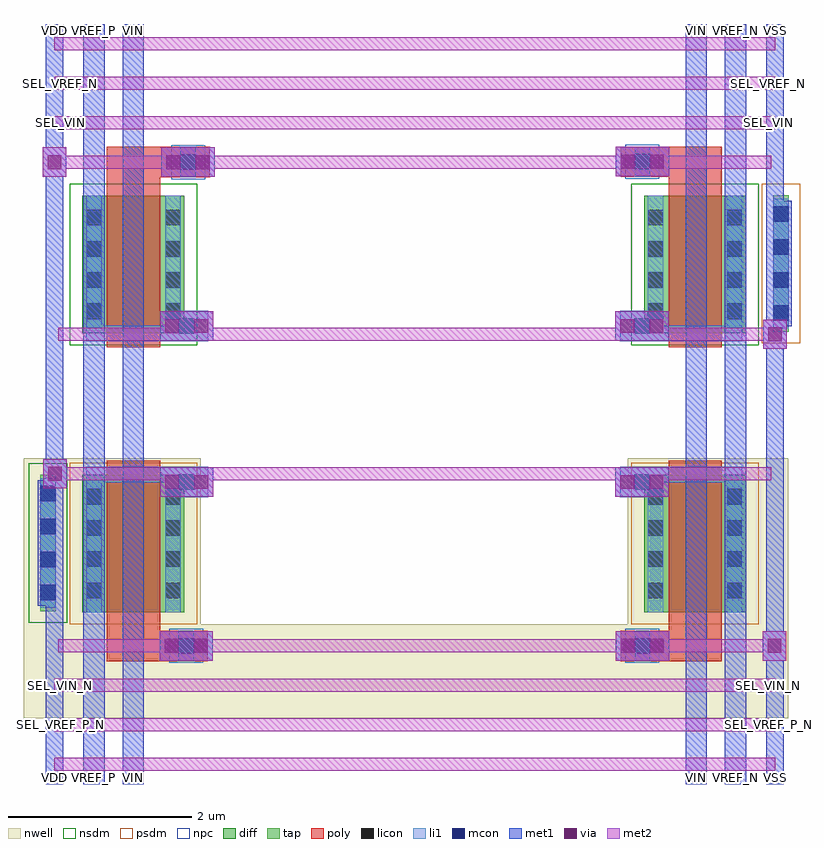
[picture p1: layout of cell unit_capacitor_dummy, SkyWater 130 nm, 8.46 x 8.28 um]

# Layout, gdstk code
import gdstk
lib = gdstk.Library(unit=1e-6, precision=1e-09)
def R(c, l, rs):  # rectangles x0, y0, x1, y1
    for r in rs: c.add(gdstk.rectangle(r[:2], r[2:], *l))
def A(c, l, x, y, w, h, nx, ny, dx, dy):  # array of equal rectangles
    R(c, l, [(x+i*dx, y+j*dy, x+i*dx+w, y+j*dy+h) for i in range(nx) for j in range(ny)])
nwell = (64, 20)
diff = (65, 20)
tap = (65, 44)
poly = (66, 20)
licon = (66, 44)
li1 = (67, 20)
mcon = (67, 44)
met1 = (68, 20)
via = (68, 44)
met2 = (69, 20)
nsdm = (93, 44)
psdm = (94, 20)
npc = (95, 20)

pfet_01v8__34 = lib.new_cell('pfet_01v8$$34')
R(pfet_01v8__34, nwell, [(-0.445,-0.18,1.025,1.68)])
R(pfet_01v8__34, diff, [(-0.265,0,0,1.5), (0,0,0.58,1.5), (0.58,0,0.845,1.5)])
R(pfet_01v8__34, poly, [(0,-0.15,0.58,-0.095), (0,-0.095,0.58,0), (0,0,0.58,1.5), (0,1.5,0.58,1.595), (0,1.595,0.58,1.65)])
A(pfet_01v8__34, licon, -0.225, 0.155, 0.17, 0.17, 1, 4, 0, 0.34)
A(pfet_01v8__34, licon, 0.635, 0.155, 0.17, 0.17, 1, 4, 0, 0.34)
R(pfet_01v8__34, li1, [(-0.225,0,-0.055,1.5), (0.635,0,0.805,1.5)])
R(pfet_01v8__34, psdm, [(-0.405,-0.13,0.985,1.63)])
pfet_01v8__34.add(gdstk.Label('D_drain_1', (0.712,0.75), layer=65, texttype=20))
pfet_01v8__34.add(gdstk.Label('S_source_0', (-0.132,0.75), layer=65, texttype=20))
pfet_01v8__34.add(gdstk.Label('G_gate_1', (0.29,-0.122), layer=66, texttype=20))
pfet_01v8__34.add(gdstk.Label('G_gate_1', (0.29,1.622), layer=66, texttype=20))
pfet_01v8__34.add(gdstk.Label('D_drain_1', (0.72,0.75), layer=67, texttype=20))
pfet_01v8__34.add(gdstk.Label('S_source_0', (-0.14,0.75), layer=67, texttype=20))
pfet_01v8__34.add(gdstk.Label('B', (0.29,0.75), layer=64, texttype=20))

nfet_01v8__35 = lib.new_cell('nfet_01v8$$35')
R(nfet_01v8__35, diff, [(-0.265,0,0,1.5), (0,0,0.58,1.5), (0.58,0,0.845,1.5)])
R(nfet_01v8__35, poly, [(0,-0.15,0.58,-0.095), (0,-0.095,0.58,0), (0,0,0.58,1.5), (0,1.5,0.58,1.595), (0,1.595,0.58,1.65)])
A(nfet_01v8__35, licon, -0.225, 0.155, 0.17, 0.17, 1, 4, 0, 0.34)
A(nfet_01v8__35, licon, 0.635, 0.155, 0.17, 0.17, 1, 4, 0, 0.34)
R(nfet_01v8__35, li1, [(-0.225,0,-0.055,1.5), (0.635,0,0.805,1.5)])
R(nfet_01v8__35, nsdm, [(-0.405,-0.13,0.985,1.63)])
nfet_01v8__35.add(gdstk.Label('D_drain_1', (0.712,0.75), layer=65, texttype=20))
nfet_01v8__35.add(gdstk.Label('S_source_0', (-0.132,0.75), layer=65, texttype=20))
nfet_01v8__35.add(gdstk.Label('G_gate_1', (0.29,-0.122), layer=66, texttype=20))
nfet_01v8__35.add(gdstk.Label('G_gate_1', (0.29,1.622), layer=66, texttype=20))
nfet_01v8__35.add(gdstk.Label('D_drain_1', (0.72,0.75), layer=67, texttype=20))
nfet_01v8__35.add(gdstk.Label('S_source_0', (-0.14,0.75), layer=67, texttype=20))

m1m2_c__31 = lib.new_cell('M1M2_C$$31')
R(m1m2_c__31, met1, [(-0.29,-0.16,0.29,0.16)])
R(m1m2_c__31, via, [(-0.235,-0.075,-0.085,0.075), (0.085,-0.075,0.235,0.075)])
R(m1m2_c__31, met2, [(-0.29,-0.16,0.29,0.16)])

polyconn__32 = lib.new_cell('polyConn$$32')
R(polyconn__32, poly, [(-0.235,-0.165,0.235,0.165)])
R(polyconn__32, licon, [(-0.085,-0.085,0.085,0.085)])
R(polyconn__32, li1, [(-0.085,-0.165,0.085,0.165)])
R(polyconn__32, mcon, [(-0.085,-0.085,0.085,0.085)])
R(polyconn__32, met1, [(-0.29,-0.16,0.29,0.16)])
R(polyconn__32, npc, [(-0.185,-0.185,0.185,0.185)])

l1m1_c__33 = lib.new_cell('L1M1_C$$33')
R(l1m1_c__33, li1, [(-0.235,-0.165,0.235,0.165)])
R(l1m1_c__33, mcon, [(-0.085,-0.085,0.085,0.085)])
R(l1m1_c__33, met1, [(-0.29,-0.16,0.29,0.16)])

nwelltap__22 = lib.new_cell('nwellTap$$22')
R(nwelltap__22, nwell, [(-0.265,-0.925,0.265,0.925)])
R(nwelltap__22, tap, [(-0.085,-0.745,0.085,0.745)])
A(nwelltap__22, licon, -0.085, -0.625, 0.17, 0.17, 1, 4, 0, 0.36)
R(nwelltap__22, li1, [(-0.085,-0.705,0.085,0.705)])
A(nwelltap__22, mcon, -0.085, -0.625, 0.17, 0.17, 1, 4, 0, 0.36)
R(nwelltap__22, met1, [(-0.115,-0.685,0.115,0.685)])
R(nwelltap__22, nsdm, [(-0.21,-0.87,0.21,0.87)])

subtap__23 = lib.new_cell('subTap$$23')
R(subtap__23, tap, [(-0.085,-0.745,0.085,0.745)])
A(subtap__23, licon, -0.085, -0.625, 0.17, 0.17, 1, 4, 0, 0.36)
R(subtap__23, li1, [(-0.085,-0.705,0.085,0.705)])
A(subtap__23, mcon, -0.085, -0.625, 0.17, 0.17, 1, 4, 0, 0.36)
R(subtap__23, met1, [(-0.115,-0.685,0.115,0.685)])
R(subtap__23, psdm, [(-0.21,-0.87,0.21,0.87)])

m1m2_c__11 = lib.new_cell('M1M2_C$$11')
R(m1m2_c__11, met1, [(-0.13,-0.16,0.13,0.16)])
R(m1m2_c__11, via, [(-0.075,-0.075,0.075,0.075)])
R(m1m2_c__11, met2, [(-0.13,-0.16,0.13,0.16)])

unit_capacitor_dummy = lib.new_cell('unit_capacitor_dummy')
R(unit_capacitor_dummy, nwell, [(-0.12,0.715,8.21,1.74), (7.93,1.74,8.21,3.55)])
R(unit_capacitor_dummy, met1, [(0.12,0,0.31,0.14), (0.53,0,0.76,0.14), (0.96,0,1.19,0.14), (7.09,0,7.32,0.14), (7.52,0,7.75,0.14), (7.97,0,8.16,0.14), (0.12,8.14,0.31,8.28), (0.53,8.14,0.76,8.28), (0.96,8.14,1.19,8.28), (7.09,8.14,7.32,8.28), (7.52,8.14,7.75,8.28), (7.97,8.14,8.16,8.28)])
A(unit_capacitor_dummy, met2, 0.215, 0.145, 0.14, 0.14, 1, 3, 0, 0.43)
A(unit_capacitor_dummy, met2, 7.925, 0.145, 0.14, 0.14, 1, 3, 0, 0.43)
A(unit_capacitor_dummy, met2, 0.215, 7.135, 0.14, 0.14, 1, 3, 0, 0.43)
A(unit_capacitor_dummy, met2, 7.925, 7.135, 0.14, 0.14, 1, 3, 0, 0.43)
unit_capacitor_dummy.add(gdstk.FlexPath([(1.65,1.505),(1.415,1.505)], 0.33, ends=(0, 0.075), simple_path=True, layer=66, datatype=20))  # poly
unit_capacitor_dummy.add(gdstk.FlexPath([(1.075,1.72),(1.075,1.34)], 0.58, ends="flush", simple_path=True, layer=66, datatype=20))  # poly
unit_capacitor_dummy.add(gdstk.FlexPath([(7.195,6.56),(7.195,6.945)], 0.58, ends="flush", simple_path=True, layer=66, datatype=20))  # poly
unit_capacitor_dummy.add(gdstk.FlexPath([(6.855,6.78),(6.855,6.705)], 0.15, ends=(0.165, 0), simple_path=True, layer=66, datatype=20))  # poly
unit_capacitor_dummy.add(gdstk.FlexPath([(1.67,6.775),(1.435,6.775)], 0.33, ends=(0, 0.075), simple_path=True, layer=66, datatype=20))  # poly
unit_capacitor_dummy.add(gdstk.FlexPath([(6.62,6.78),(6.855,6.78)], 0.33, ends=(0, 0.075), simple_path=True, layer=66, datatype=20))  # poly
unit_capacitor_dummy.add(gdstk.FlexPath([(1.435,6.775),(1.435,6.845)], 0.15, ends=(0.165, 0), simple_path=True, layer=66, datatype=20))  # poly
unit_capacitor_dummy.add(gdstk.FlexPath([(7.195,1.72),(7.195,1.34)], 0.58, ends="flush", simple_path=True, layer=66, datatype=20))  # poly
unit_capacitor_dummy.add(gdstk.FlexPath([(6.855,1.505),(6.855,1.435)], 0.15, ends=(0.165, 0), simple_path=True, layer=66, datatype=20))  # poly
unit_capacitor_dummy.add(gdstk.FlexPath([(6.62,1.505),(6.855,1.505)], 0.33, ends=(0, 0.075), simple_path=True, layer=66, datatype=20))  # poly
unit_capacitor_dummy.add(gdstk.FlexPath([(1.415,1.505),(1.415,1.435)], 0.15, ends=(0.165, 0), simple_path=True, layer=66, datatype=20))  # poly
unit_capacitor_dummy.add(gdstk.FlexPath([(1.075,6.56),(1.075,6.94)], 0.58, ends="flush", simple_path=True, layer=66, datatype=20))  # poly
unit_capacitor_dummy.add(gdstk.FlexPath([(0.645,3.37),(1.59,3.37)], 0.17, ends=(0.085, 0), simple_path=True, layer=67, datatype=20))  # li1
unit_capacitor_dummy.add(gdstk.FlexPath([(0.645,4.91),(1.59,4.91)], 0.17, ends=(0.085, 0), simple_path=True, layer=67, datatype=20))  # li1
unit_capacitor_dummy.add(gdstk.FlexPath([(6.765,4.91),(7.71,4.91)], 0.17, ends=(0.085, 0), simple_path=True, layer=67, datatype=20))  # li1
unit_capacitor_dummy.add(gdstk.FlexPath([(6.765,3.37),(7.71,3.37)], 0.17, ends=(0.085, 0), simple_path=True, layer=67, datatype=20))  # li1
unit_capacitor_dummy.add(gdstk.FlexPath([(0.645,8.14),(0.645,0)], 0.23, ends="flush", simple_path=True, layer=68, datatype=20))  # met1
unit_capacitor_dummy.add(gdstk.FlexPath([(7.635,8.28),(7.635,0.07)], 0.23, ends="flush", simple_path=True, layer=68, datatype=20))  # met1
unit_capacitor_dummy.add(gdstk.FlexPath([(0.215,8.21),(0.215,0.07)], 0.19, ends="flush", simple_path=True, layer=68, datatype=20))  # met1
unit_capacitor_dummy.add(gdstk.FlexPath([(1.075,8.21),(1.075,0.07)], 0.23, ends="flush", simple_path=True, layer=68, datatype=20))  # met1
unit_capacitor_dummy.add(gdstk.FlexPath([(8.065,8.21),(8.065,0.07)], 0.19, ends="flush", simple_path=True, layer=68, datatype=20))  # met1
unit_capacitor_dummy.add(gdstk.FlexPath([(7.205,8.21),(7.205,0.07)], 0.23, ends="flush", simple_path=True, layer=68, datatype=20))  # met1
unit_capacitor_dummy.add(gdstk.FlexPath([(0.255,1.505),(8.025,1.505)], 0.14, ends="flush", simple_path=True, layer=69, datatype=20))  # met2
unit_capacitor_dummy.add(gdstk.FlexPath([(0.255,4.9),(8.025,4.9)], 0.14, ends="flush", simple_path=True, layer=69, datatype=20))  # met2
unit_capacitor_dummy.add(gdstk.FlexPath([(0.255,7.635),(8.025,7.635)], 0.14, ends="flush", simple_path=True, layer=69, datatype=20))  # met2
unit_capacitor_dummy.add(gdstk.FlexPath([(0.255,3.38),(8.025,3.38)], 0.14, ends="flush", simple_path=True, layer=69, datatype=20))  # met2
unit_capacitor_dummy.add(gdstk.FlexPath([(0.255,6.775),(8.025,6.775)], 0.14, ends="flush", simple_path=True, layer=69, datatype=20))  # met2
unit_capacitor_dummy.add(gdstk.FlexPath([(0.255,8.065),(8.025,8.065)], 0.14, ends="flush", simple_path=True, layer=69, datatype=20))  # met2
unit_capacitor_dummy.add(gdstk.FlexPath([(0.255,7.205),(8.025,7.205)], 0.14, ends="flush", simple_path=True, layer=69, datatype=20))  # met2
unit_capacitor_dummy.add(gdstk.FlexPath([(0.255,0.215),(8.025,0.215)], 0.14, ends="flush", simple_path=True, layer=69, datatype=20))  # met2
unit_capacitor_dummy.add(gdstk.FlexPath([(0.255,0.645),(8.025,0.645)], 0.14, ends="flush", simple_path=True, layer=69, datatype=20))  # met2
unit_capacitor_dummy.add(gdstk.FlexPath([(0.255,1.075),(8.025,1.075)], 0.14, ends="flush", simple_path=True, layer=69, datatype=20))  # met2
unit_capacitor_dummy.add(gdstk.Reference(pfet_01v8__34, (6.905,1.87)))
unit_capacitor_dummy.add(gdstk.Reference(pfet_01v8__34, (0.785,1.87)))
unit_capacitor_dummy.add(gdstk.Reference(nfet_01v8__35, (6.905,4.91)))
unit_capacitor_dummy.add(gdstk.Reference(nfet_01v8__35, (0.785,4.91)))
unit_capacitor_dummy.add(gdstk.Reference(m1m2_c__31, (6.615,3.29)))
unit_capacitor_dummy.add(gdstk.Reference(m1m2_c__31, (1.655,4.99)))
unit_capacitor_dummy.add(gdstk.Reference(m1m2_c__31, (6.615,4.99)))
unit_capacitor_dummy.add(gdstk.Reference(m1m2_c__31, (6.62,6.78)))
unit_capacitor_dummy.add(gdstk.Reference(m1m2_c__31, (6.62,1.505)))
unit_capacitor_dummy.add(gdstk.Reference(m1m2_c__31, (1.65,1.505)))
unit_capacitor_dummy.add(gdstk.Reference(m1m2_c__31, (1.655,3.29)))
unit_capacitor_dummy.add(gdstk.Reference(m1m2_c__31, (1.67,6.775)))
unit_capacitor_dummy.add(gdstk.Reference(polyconn__32, (6.62,6.78)))
unit_capacitor_dummy.add(gdstk.Reference(polyconn__32, (6.62,1.505)))
unit_capacitor_dummy.add(gdstk.Reference(polyconn__32, (1.65,1.505)))
unit_capacitor_dummy.add(gdstk.Reference(polyconn__32, (1.67,6.775)))
unit_capacitor_dummy.add(gdstk.Reference(l1m1_c__33, (6.615,3.29)))
unit_capacitor_dummy.add(gdstk.Reference(l1m1_c__33, (1.655,4.99)))
unit_capacitor_dummy.add(gdstk.Reference(l1m1_c__33, (6.615,4.99)))
unit_capacitor_dummy.add(gdstk.Reference(l1m1_c__33, (1.655,3.29)))
unit_capacitor_dummy.add(gdstk.Reference(nwelltap__22, (0.145,2.625)))
unit_capacitor_dummy.add(gdstk.Reference(subtap__23, (8.13,5.67)))
unit_capacitor_dummy.add(gdstk.Reference(m1m2_c__11, (0.22,3.38)))
unit_capacitor_dummy.add(gdstk.Reference(m1m2_c__11, (8.065,4.9)))
unit_capacitor_dummy.add(gdstk.Reference(m1m2_c__11, (8.06,1.505)))
unit_capacitor_dummy.add(gdstk.Reference(m1m2_c__11, (0.215,6.775)))
unit_capacitor_dummy.add(gdstk.Label('VREF_P', (0.645,0.07), layer=68, texttype=20))
unit_capacitor_dummy.add(gdstk.Label('VIN', (1.075,0.07), layer=68, texttype=20))
unit_capacitor_dummy.add(gdstk.Label('VDD', (0.215,0.07), layer=68, texttype=20))
unit_capacitor_dummy.add(gdstk.Label('VSS', (8.065,0.07), layer=68, texttype=20))
unit_capacitor_dummy.add(gdstk.Label('VIN', (7.205,0.07), layer=68, texttype=20))
unit_capacitor_dummy.add(gdstk.Label('VREF_N', (7.635,0.07), layer=68, texttype=20))
unit_capacitor_dummy.add(gdstk.Label('VSS', (8.065,8.21), layer=68, texttype=20))
unit_capacitor_dummy.add(gdstk.Label('VIN', (7.205,8.21), layer=68, texttype=20))
unit_capacitor_dummy.add(gdstk.Label('VREF_N', (7.635,8.21), layer=68, texttype=20))
unit_capacitor_dummy.add(gdstk.Label('VREF_P', (0.645,8.21), layer=68, texttype=20))
unit_capacitor_dummy.add(gdstk.Label('VIN', (1.075,8.21), layer=68, texttype=20))
unit_capacitor_dummy.add(gdstk.Label('VDD', (0.215,8.21), layer=68, texttype=20))
unit_capacitor_dummy.add(gdstk.Label('SEL_VREF_N', (7.995,7.635), layer=69, texttype=20))
unit_capacitor_dummy.add(gdstk.Label('SEL_VIN', (7.995,7.205), layer=69, texttype=20))
unit_capacitor_dummy.add(gdstk.Label('SEL_VREF_P', (7.995,8.065), layer=69, texttype=20))
unit_capacitor_dummy.add(gdstk.Label('SEL_VREF_N_N', (7.995,0.215), layer=69, texttype=20))
unit_capacitor_dummy.add(gdstk.Label('SEL_VIN_N', (7.995,1.075), layer=69, texttype=20))
unit_capacitor_dummy.add(gdstk.Label('SEL_VREF_P_N', (7.995,0.645), layer=69, texttype=20))
unit_capacitor_dummy.add(gdstk.Label('SEL_VREF_N_N', (0.285,0.215), layer=69, texttype=20))
unit_capacitor_dummy.add(gdstk.Label('SEL_VIN_N', (0.285,1.075), layer=69, texttype=20))
unit_capacitor_dummy.add(gdstk.Label('SEL_VREF_P_N', (0.285,0.645), layer=69, texttype=20))
unit_capacitor_dummy.add(gdstk.Label('SEL_VREF_N', (0.285,7.635), layer=69, texttype=20))
unit_capacitor_dummy.add(gdstk.Label('SEL_VIN', (0.285,7.205), layer=69, texttype=20))
unit_capacitor_dummy.add(gdstk.Label('SEL_VREF_P', (0.285,8.065), layer=69, texttype=20))
unit_capacitor_dummy.add(gdstk.Label('SEL_VREF_N', (7.615,7.635), layer=69, texttype=5))
unit_capacitor_dummy.add(gdstk.Label('SEL_VIN', (7.785,7.205), layer=69, texttype=5))
unit_capacitor_dummy.add(gdstk.Label('SEL_VREF_P', (7.62,8.065), layer=69, texttype=5))
unit_capacitor_dummy.add(gdstk.Label('SEL_VREF_N_N', (7.51,0.215), layer=69, texttype=5))
unit_capacitor_dummy.add(gdstk.Label('SEL_VIN_N', (7.685,1.075), layer=69, texttype=5))
unit_capacitor_dummy.add(gdstk.Label('SEL_VREF_P_N', (7.52,0.645), layer=69, texttype=5))
unit_capacitor_dummy.add(gdstk.Label('SEL_VREF_N_N', (0.775,0.215), layer=69, texttype=5))
unit_capacitor_dummy.add(gdstk.Label('SEL_VIN_N', (0.605,1.075), layer=69, texttype=5))
unit_capacitor_dummy.add(gdstk.Label('SEL_VREF_P_N', (0.765,0.645), layer=69, texttype=5))
unit_capacitor_dummy.add(gdstk.Label('SEL_VREF_N', (0.665,7.635), layer=69, texttype=5))
unit_capacitor_dummy.add(gdstk.Label('SEL_VIN', (0.5,7.205), layer=69, texttype=5))
unit_capacitor_dummy.add(gdstk.Label('SEL_VREF_P', (0.665,8.065), layer=69, texttype=5))
unit_capacitor_dummy.add(gdstk.Label('VREF_P', (0.6,0.07), layer=68, texttype=5))
unit_capacitor_dummy.add(gdstk.Label('VIN', (1.03,0.07), layer=68, texttype=5))
unit_capacitor_dummy.add(gdstk.Label('VDD', (0.19,0.07), layer=68, texttype=5))
unit_capacitor_dummy.add(gdstk.Label('VSS', (8.04,0.07), layer=68, texttype=5))
unit_capacitor_dummy.add(gdstk.Label('VIN', (7.16,0.07), layer=68, texttype=5))
unit_capacitor_dummy.add(gdstk.Label('VREF_N', (7.59,0.07), layer=68, texttype=5))
unit_capacitor_dummy.add(gdstk.Label('VSS', (8.04,8.21), layer=68, texttype=5))
unit_capacitor_dummy.add(gdstk.Label('VIN', (7.16,8.21), layer=68, texttype=5))
unit_capacitor_dummy.add(gdstk.Label('VREF_N', (7.59,8.21), layer=68, texttype=5))
unit_capacitor_dummy.add(gdstk.Label('VREF_P', (0.6,8.21), layer=68, texttype=5))
unit_capacitor_dummy.add(gdstk.Label('VIN', (1.03,8.21), layer=68, texttype=5))
unit_capacitor_dummy.add(gdstk.Label('VDD', (0.19,8.21), layer=68, texttype=5))

lib.write_gds('unit_capacitor_dummy.gds')
